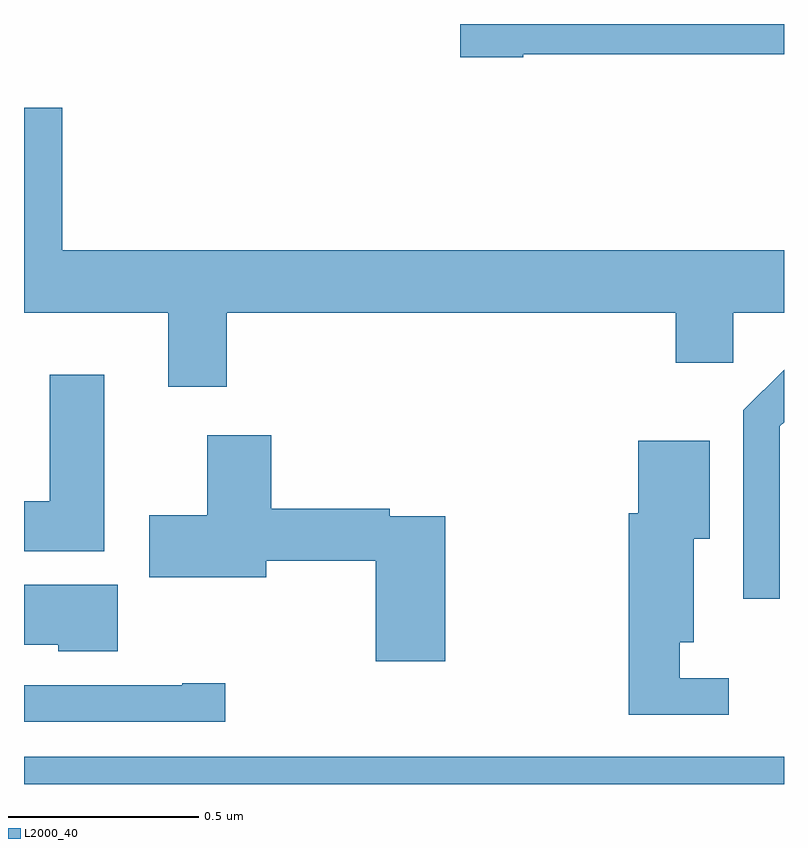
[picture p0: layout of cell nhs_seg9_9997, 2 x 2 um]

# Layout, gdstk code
import gdstk
lib = gdstk.Library(unit=1e-6, precision=1e-09)
def R(c, l, rs):  # rectangles x0, y0, x1, y1
    for r in rs: c.add(gdstk.rectangle(r[:2], r[2:], *l))
def P(c, l, *ps):  # polygons
    for p in ps: c.add(gdstk.Polygon(p, *l))
L2000_40 = (2000, 40)

nhs_seg9_9997 = lib.new_cell('nhs_seg9_9997')
R(nhs_seg9_9997, L2000_40, [(237,1208.5,239,1208.572)])
P(nhs_seg9_9997, L2000_40, [(238.314,1210.42),(239,1210.42),(239,1210.5),(238.148,1210.5),(238.148,1210.412),(238.314,1210.412)],
  [(237.533,1209.74),(238.715,1209.74),(238.715,1209.609),(238.866,1209.609),(238.866,1209.74),(239,1209.74),(239,1209.904),(237.1,1209.904),(237.1,1210.279),(237,1210.279),(237,1209.74),(237.38,1209.74),(237.38,1209.546),(237.533,1209.546)],
  [(238.989,1209.441),(239,1209.452),(239,1209.59),(238.893,1209.483),(238.893,1208.988),(238.989,1208.988)],
  [(237.211,1209.577),(237.068,1209.577),(237.068,1209.244),(237,1209.244),(237,1209.113),(237.211,1209.113)],
  [(238.109,1209.204),(237.962,1209.204),(237.962,1209.224),(237.65,1209.224),(237.65,1209.418),(237.482,1209.418),(237.482,1209.207),(237.33,1209.207),(237.33,1209.044),(237.637,1209.044),(237.637,1209.088),(237.926,1209.088),(237.926,1208.823),(238.109,1208.823)],
  [(238.855,1208.778),(238.726,1208.778),(238.726,1208.873),(238.762,1208.873),(238.762,1209.146),(238.804,1209.146),(238.804,1209.403),(238.616,1209.403),(238.616,1209.213),(238.592,1209.213),(238.592,1208.682),(238.855,1208.682)],
  [(237.247,1209.025),(237,1209.025),(237,1208.867),(237.09,1208.867),(237.09,1208.849),(237.247,1208.849)],
  [(237.529,1208.765),(237.416,1208.765),(237.416,1208.76),(237,1208.76),(237,1208.664),(237.529,1208.664)])

lib.write_gds('nhs_seg9_9997.gds')
